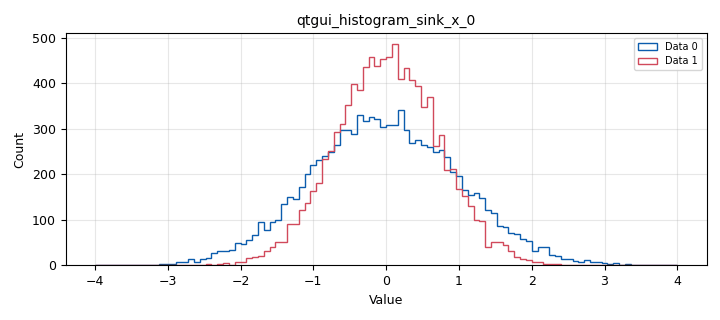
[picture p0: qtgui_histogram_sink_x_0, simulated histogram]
options:
  parameters:
    author: p
    generate_options: qt_gui
    id: week6_lecture-31_comp_noise
    output_language: python
    title: Not titled yet
  states: {}

blocks:
- name: samp_rate
  id: variable
  parameters:
    value: '32000'
  states: {}
- name: analog_noise_source_x_0
  id: analog_noise_source_x
  parameters:
    amp: '1'
    noise_type: analog.GR_GAUSSIAN
    seed: '0'
    type: complex
  states: {}
- name: analog_noise_source_x_1
  id: analog_noise_source_x
  parameters:
    amp: '1'
    noise_type: analog.GR_GAUSSIAN
    seed: '0'
    type: float
  states: {}
- name: blocks_complex_to_real_0
  id: blocks_complex_to_real
  parameters: {}
  states: {}
- name: blocks_throttle2_0
  id: blocks_throttle2
  parameters:
    samples_per_second: samp_rate
    type: float
  states: {}
- name: qtgui_histogram_sink_x_0
  id: qtgui_histogram_sink_x
  parameters:
    bins: '100'
    nconnections: '2'
    size: '10240'
    type: float
    xmax: '4'
    xmin: '-4'
  states: {}

connections:
- [analog_noise_source_x_0, '0', blocks_complex_to_real_0, '0']
- [analog_noise_source_x_1, '0', blocks_throttle2_0, '0']
- [blocks_complex_to_real_0, '0', qtgui_histogram_sink_x_0, '1']
- [blocks_throttle2_0, '0', qtgui_histogram_sink_x_0, '0']

metadata:
  file_format: 1
  grc_version: 3.10.7.0
